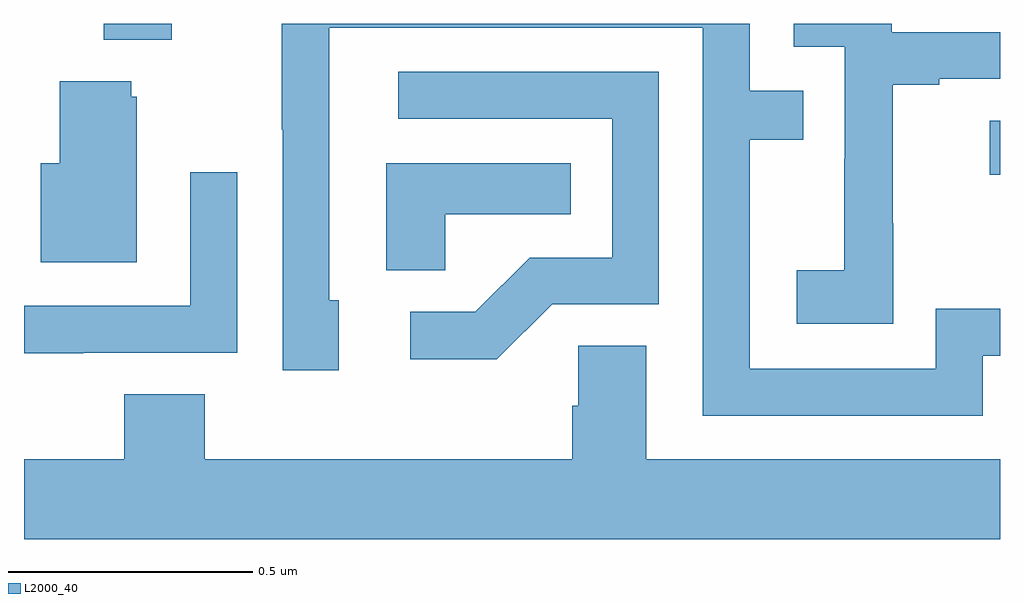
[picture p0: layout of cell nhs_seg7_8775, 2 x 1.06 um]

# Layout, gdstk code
import gdstk
lib = gdstk.Library(unit=1e-6, precision=1e-09)
def R(c, l, rs):  # rectangles x0, y0, x1, y1
    for r in rs: c.add(gdstk.rectangle(r[:2], r[2:], *l))
def P(c, l, *ps):  # polygons
    for p in ps: c.add(gdstk.Polygon(p, *l))
L2000_40 = (2000, 40)

nhs_seg7_8775 = lib.new_cell('nhs_seg7_8775')
R(nhs_seg7_8775, L2000_40, [(230.979,1006.691,231,1006.801), (229.163,1006.967,229.303,1007)])
P(nhs_seg7_8775, L2000_40, [(230.781,1006.591),(230.78,1006.591),(230.78,1006.875),(230.875,1006.875),(230.875,1006.887),(231,1006.887),(231,1006.983),(230.778,1006.983),(230.778,1007),(230.577,1007),(230.577,1006.953),(230.682,1006.953),(230.682,1006.724),(230.681,1006.724),(230.681,1006.495),(230.583,1006.495),(230.583,1006.385),(230.781,1006.385)],
  [(230.965,1006.32),(231,1006.32),(231,1006.416),(230.868,1006.416),(230.868,1006.293),(230.487,1006.293),(230.487,1006.762),(230.597,1006.762),(230.597,1006.863),(230.487,1006.863),(230.487,1007),(229.528,1007),(229.528,1006.783),(229.53,1006.783),(229.53,1006.29),(229.645,1006.29),(229.645,1006.434),(229.626,1006.434),(229.626,1006.992),(230.391,1006.992),(230.391,1006.197),(230.965,1006.197)],
  [(230.082,1006.425),(230.301,1006.425),(230.301,1006.902),(229.767,1006.902),(229.767,1006.806),(230.205,1006.806),(230.205,1006.521),(230.036,1006.521),(229.925,1006.41),(229.791,1006.41),(229.791,1006.313),(229.969,1006.313)],
  [(229.231,1006.851),(229.22,1006.851),(229.22,1006.882),(229.073,1006.882),(229.073,1006.714),(229.034,1006.714),(229.034,1006.511),(229.231,1006.511)],
  [(229.863,1006.61),(230.12,1006.61),(230.12,1006.714),(229.742,1006.714),(229.742,1006.495),(229.863,1006.495)],
  [(229.121,1006.326),(229.437,1006.326),(229.437,1006.696),(229.341,1006.696),(229.341,1006.422),(229,1006.422),(229,1006.325),(229.121,1006.325)],
  [(231,1006.108),(230.275,1006.108),(230.275,1006.34),(230.136,1006.34),(230.136,1006.217),(230.123,1006.217),(230.123,1006.108),(229.37,1006.108),(229.37,1006.241),(229.205,1006.241),(229.205,1006.108),(229,1006.108),(229,1005.944),(231,1005.944)])

lib.write_gds('nhs_seg7_8775.gds')
